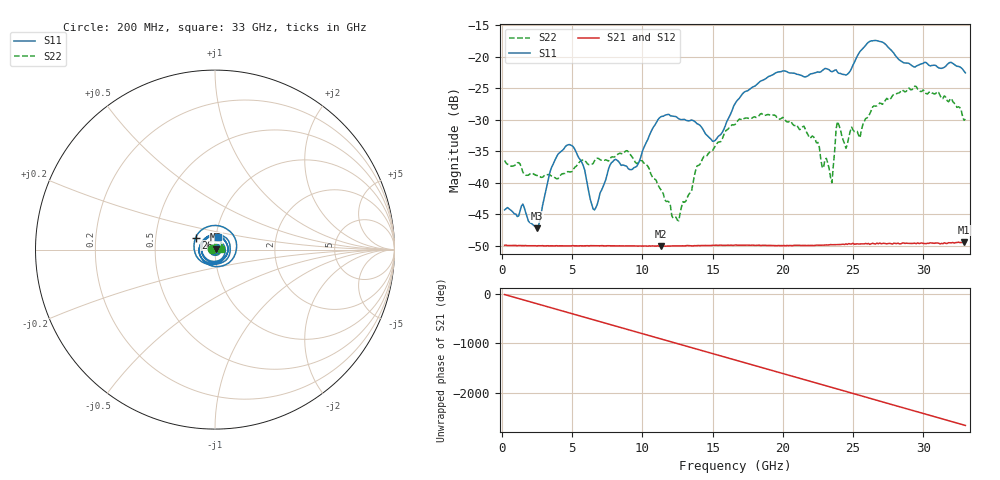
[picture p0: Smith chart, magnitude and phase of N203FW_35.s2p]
# GHZ S RI R 50
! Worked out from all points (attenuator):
!   329 points, 200 MHz to 33 GHz, reference 50 ohm
!   highest |S21| = -49.45 dB at 32.9 GHz (marker M1); lowest = -50.1 dB at 11.3 GHz (marker M2)
!   lowest |S11| = -47.3 dB at 2.5 GHz (marker M3), VSWR 1.01, Z = 50.4 + j0.235 ohm
!   |S11| at or under -10 dB: start of sweep to end of sweep
!   |S22| runs from -46.1 to -24.7 dB; largest |S21 - S12| = 8.8e-05
!   S11 on the Smith chart (normalised r, x): 200 MHz: 1.01, +0.00; 26 GHz: 0.80, +0.11; 33 GHz: 1.03, +0.15
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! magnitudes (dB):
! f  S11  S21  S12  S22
! 200 MHz  -44.3  -50.0  -49.9  -36.5
! 2.5 GHz  -47.3  -50.1  -50.0  -38.9
! 4 GHz  -35.5  -50.0  -50.0  -39.4
! 5.7 GHz  -36.8  -50.0  -50.0  -36.4
! 6.6 GHz  -44.3  -50.0  -50.0  -36.5
! 7.8 GHz  -36.8  -50.1  -50.0  -35.9
! 8.9 GHz  -37.4  -50.0  -50.1  -34.9
! 11.2 GHz  -29.8  -50.1  -50.1  -40.7
! 11.3 GHz  -29.6  -50.1  -50.1  -41.1
! 12.6 GHz  -29.9  -50.1  -50.0  -46.1
! 13.9 GHz  -30.6  -50.0  -50.0  -37.3
! 15.1 GHz  -33.4  -50.0  -49.9  -34.5
! 16.6 GHz  -27.5  -49.9  -49.9  -30.8
! 22.1 GHz  -22.7  -50.0  -50.0  -32.6
! 23.5 GHz  -22.4  -49.9  -49.8  -40.0
! 23.9 GHz  -22.5  -49.9  -49.9  -30.3
! 24.5 GHz  -22.9  -49.7  -49.7  -34.6
! 26 GHz  -17.9  -49.7  -49.7  -29.7
! 27.6 GHz  -18.7  -49.7  -49.7  -26.9
! 31 GHz  -21.6  -49.6  -49.6  -25.5
! 32.9 GHz  -22.3  -49.5  -49.4  -30.1
! 33 GHz  -22.6  -49.5  -49.5  -29.9
